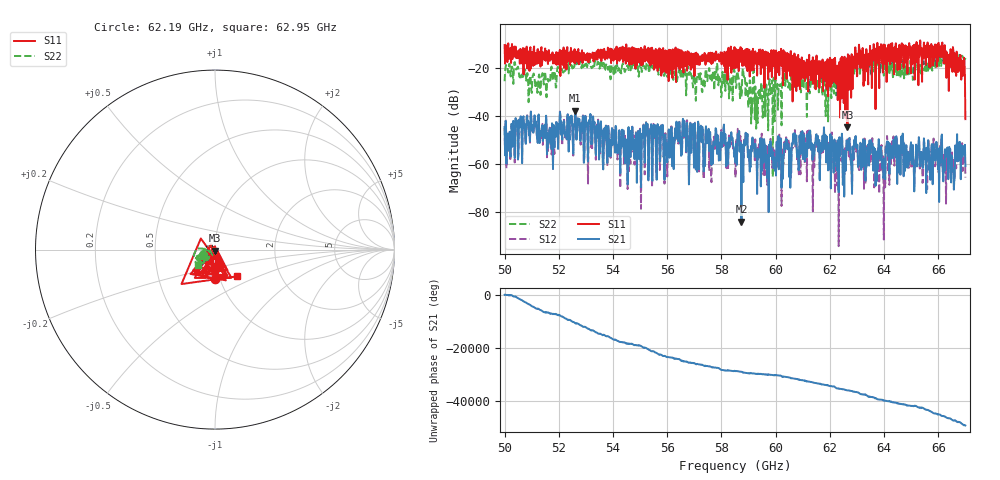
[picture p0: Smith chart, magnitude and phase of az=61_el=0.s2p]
!Created with skrf (http://scikit-rf.org).
# GHz S RI R 50.0
!freq ReS11 ImS11 ReS21 ImS21 ReS12 ImS12 ReS22 ImS22
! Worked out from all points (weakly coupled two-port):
!   1001 points, 50 GHz to 67 GHz, reference 50 ohm
!   highest |S21| = -37.79 dB at 52.6 GHz (marker M1); lowest = -83.9 dB at 58.74 GHz (marker M2)
!   lowest |S11| = -44.6 dB at 62.65 GHz (marker M3), VSWR 1.01, Z = 49.8 - j0.546 ohm
!   |S11| at or under -10 dB: 50.14 GHz to 63.75 GHz (13.62 GHz wide, 23.9 % of centre); 63.75 GHz to 64.25 GHz (491.3 MHz wide, 0.768 % of centre); 66.15 GHz to end of sweep (the widest 3 of 14)
!   |S22| runs from -65.3 to -13.7 dB; largest |S21 - S12| = 0.0021
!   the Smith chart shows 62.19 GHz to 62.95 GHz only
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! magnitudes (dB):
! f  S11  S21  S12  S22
! 50 GHz  -10.5  -44.5  -44.9  -25.5
! 51.24 GHz  -18.0  -39.9  -40.3  -25.4
! 52.6 GHz  -18.2  -37.8  -38.4  -16.9
! 52.84 GHz  -14.3  -42.8  -43.0  -20.1
! 55.68 GHz  -14.1  -45.4  -45.7  -22.8
! 56.94 GHz  -14.3  -46.6  -46.4  -26.3
! 58.5 GHz  -20.0  -54.5  -55.8  -22.7
! 58.74 GHz  -16.1  -83.9  -61.8  -31.9
! 58.92 GHz  -12.1  -49.6  -50.0  -26.2
! 59.32 GHz  -23.2  -72.3  -67.3  -32.7
! 60.34 GHz  -13.4  -51.8  -55.9  -23.7
! 61.25 GHz  -23.0  -53.1  -53.1  -30.6
! 61.34 GHz  -23.7  -52.1  -52.4  -24.4
! 61.88 GHz  -28.8  -48.5  -49.2  -24.3
! 62.26 GHz  -19.5  -60.3  -64.9  -26.2
! 62.65 GHz  -44.6  -54.1  -49.7  -22.6
! 63.96 GHz  -21.9  -59.1  -58.8  -14.9
! 64.18 GHz  -17.2  -54.1  -53.7  -18.6
! 66.08 GHz  -15.4  -59.5  -60.6  -15.2
! 66.52 GHz  -21.6  -62.0  -60.1  -18.2
! 66.9 GHz  -17.0  -56.3  -62.8  -15.3
! 67 GHz  -41.3  -60.8  -65.5  -15.8
